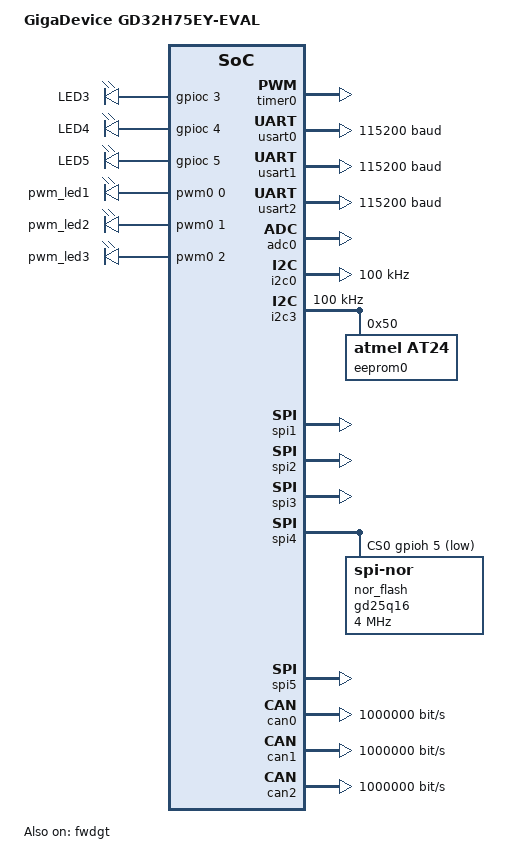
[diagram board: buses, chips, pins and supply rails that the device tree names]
/*
 * Copyright (c) 2026 GigaDevice Semiconductor Inc.
 *
 * SPDX-License-Identifier: Apache-2.0
 */

/dts-v1/;

#include <gd/gd32h75e/gd32h75eym.dtsi>
#include "gd32h75ey_eval-pinctrl.dtsi"
#include <zephyr/dt-bindings/dma/gd32_dma.h>

/ {
	model = "GigaDevice GD32H75EY-EVAL";
	compatible = "gd,gd32h75ey-eval";

	chosen {
		zephyr,sram = &sram0;
		zephyr,dtcm = &dtcm;
		zephyr,flash = &flash0;
		zephyr,console = &usart2;
		zephyr,shell-uart = &usart2;
		zephyr,flash-controller = &fmc;
		zephyr,canbus = &can0;
	};

	leds {
		compatible = "gpio-leds";
		led0: led0 {
			gpios = <&gpioc 3 GPIO_ACTIVE_HIGH>;
			label = "LED3";
		};
		led1: led1 {
			gpios = <&gpioc 4 GPIO_ACTIVE_HIGH>;
			label = "LED4";
		};
		led2: led2 {
			gpios = <&gpioc 5 GPIO_ACTIVE_HIGH>;
			label = "LED5";
		};
	};

	pwmleds {
		compatible = "pwm-leds";

		/* pwm_led0 (TIMER1_CH2/PB10) removed: PB10 is used by USART2_TX */
		pwm_led1: pwm_led1 {
			pwms = <&pwm0 0 PWM_MSEC(20) PWM_POLARITY_NORMAL>;
		};
		pwm_led2: pwm_led2 {
			pwms = <&pwm0 1 PWM_MSEC(20) PWM_POLARITY_NORMAL>;
		};
		pwm_led3: pwm_led3 {
			pwms = <&pwm0 2 PWM_MSEC(20) PWM_POLARITY_NORMAL>;
		};
	};

	aliases {
		led0 = &led0;
		led1 = &led1;
		led2 = &led2;
		watchdog0 = &fwdgt;
		pwm-led1 = &pwm_led1;
		pwm-led2 = &pwm_led2;
		pwm-led3 = &pwm_led3;
		eeprom-0 = &eeprom0;
	};
};

&timer0 {
	channels = <4>;
	prescaler = <9999>;
	alignedmode = <0x00>;
	counterdirection = <0x10>;
	deadtime = <200>;                  /* 1.06us */
	status = "okay";
	pwm0: pwm {
		status = "okay";
		pinctrl-0 = <&pwm0_default>;
		pinctrl-names = "default";
	};
};

/* timer1/pwm1 disabled: CH2 pin (PB10) is used by USART2_TX */
&timer1 {
	status = "disabled";
};

&backup_sram {
	status = "okay";
};

&gpioa {
	status = "okay";
};

&gpiob {
	status = "okay";
};

&gpioc {
	status = "okay";
};

&gpiod {
	status = "okay";
};

&gpioe {
	status = "okay";
};

&gpiof {
	status = "okay";
};

&gpiog {
	status = "okay";
};

&gpioh {
	status = "okay";
};

&gpioj {
	status = "okay";
};

&gpiok {
	status = "okay";
};

&usart0 {
	status = "okay";
	current-speed = <115200>;
	pinctrl-0 = <&usart0_default>;
	pinctrl-names = "default";
	dmas = <&dmamux 4 51 (GD32_DMA_PERIPH_RX | GD32_DMA_PRIORITY_HIGH)>,
	       <&dmamux 5 52 (GD32_DMA_PERIPH_TX | GD32_DMA_PRIORITY_HIGH)>;
	dma-names = "rx", "tx";
};

&usart1 {
	status = "okay";
	current-speed = <115200>;
	pinctrl-0 = <&usart1_default>;
	pinctrl-names = "default";
	dmas = <&dmamux 6 53 (GD32_DMA_PERIPH_RX | GD32_DMA_PRIORITY_HIGH)>,
	       <&dmamux 7 54 (GD32_DMA_PERIPH_TX | GD32_DMA_PRIORITY_HIGH)>;
	dma-names = "rx", "tx";
};

&usart2 {
	status = "okay";
	current-speed = <115200>;
	pinctrl-0 = <&usart2_default>;
	pinctrl-names = "default";
	dmas = <&dmamux 2 55 (GD32_DMA_PERIPH_RX | GD32_DMA_PRIORITY_HIGH)>,
	       <&dmamux 3 56 (GD32_DMA_PERIPH_TX | GD32_DMA_PRIORITY_HIGH)>;
	dma-names = "rx", "tx";
};

&fwdgt {
	status = "okay";
};

&adc0 {
	status = "okay";
	pinctrl-0 = <&adc0_default>;
	pinctrl-names = "default";
	dmas = <&dmamux 1 9 (GD32_DMA_PERIPH_RX | GD32_DMA_PRIORITY_VERY_HIGH)>;
	dma-names = "rx";
};

&dma0 {
	status = "okay";
};

&dma1 {
	status = "okay";
};

&dmamux {
	status = "okay";
};

&i2c0 {
	status = "okay";
	pinctrl-0 = <&i2c0_default>;
	pinctrl-names = "default";
	clock-frequency = <100000>;
};

&i2c1 {
	status = "disabled";
};

&i2c3 {
	status = "okay";
	pinctrl-0 = <&i2c3_default>;
	pinctrl-names = "default";
	clock-frequency = <100000>;
	dmas = <&dmamux 0 184 (GD32_DMA_PERIPH_RX | GD32_DMA_PRIORITY_HIGH)>,
	       <&dmamux 1 185 (GD32_DMA_PERIPH_TX | GD32_DMA_PRIORITY_HIGH)>;
	dma-names = "rx", "tx";
	eeprom0: eeprom@50 {
		compatible = "atmel,at24";
		reg = <0x50>;
		status = "okay";
		size = <256>;
		pagesize = <8>;
		address-width = <8>;
		timeout = <5>;
	};
};

&spi0 {
	status = "disabled";
	pinctrl-0 = <&spi0_default>;
	pinctrl-names = "default";
	cs-gpios = <&gpioa 4 GPIO_ACTIVE_LOW>;
};

&spi1 {
	status = "okay";
	pinctrl-0 = <&spi1_default>;
	pinctrl-names = "default";
	cs-gpios = <&gpiob 12 GPIO_ACTIVE_LOW>;
	dmas = <&dmamux 0 47 (GD32_DMA_PERIPH_RX | GD32_DMA_PRIORITY_HIGH)>,
	       <&dmamux 1 48 (GD32_DMA_PERIPH_TX | GD32_DMA_PRIORITY_HIGH)>;
	dma-names = "rx", "tx";
};

&spi2 {
	status = "okay";
	pinctrl-0 = <&spi2_default>;
	pinctrl-names = "default";
	cs-gpios = <&gpioa 4 GPIO_ACTIVE_LOW>;
	dmas = <&dmamux 8 75 (GD32_DMA_PERIPH_RX | GD32_DMA_PRIORITY_HIGH)>,
	       <&dmamux 9 76 (GD32_DMA_PERIPH_TX | GD32_DMA_PRIORITY_HIGH)>;
	dma-names = "rx", "tx";
};

&spi3 {
	status = "okay";
	pinctrl-0 = <&spi3_default>;
	pinctrl-names = "default";
	cs-gpios = <&gpioe 4 GPIO_ACTIVE_LOW>;
	dmas = <&dmamux 10 97 (GD32_DMA_PERIPH_RX | GD32_DMA_PRIORITY_HIGH)>,
	       <&dmamux 11 98 (GD32_DMA_PERIPH_TX | GD32_DMA_PRIORITY_HIGH)>;
	dma-names = "rx", "tx";
};

&spi4 {
	status = "okay";
	pinctrl-0 = <&spi4_default>;
	pinctrl-names = "default";
	cs-gpios = <&gpioh 5 GPIO_ACTIVE_LOW>;
	dmas = <&dmamux 12 99 (GD32_DMA_PERIPH_RX | GD32_DMA_PRIORITY_HIGH)>,
	       <&dmamux 13 100 (GD32_DMA_PERIPH_TX | GD32_DMA_PRIORITY_HIGH)>;
	dma-names = "rx", "tx";
	nor_flash: gd25q16@0 {
		compatible = "jedec,spi-nor";
		size = <0x1000000>;
		reg = <0>;
		spi-max-frequency = <4000000>;
		status = "okay";
		jedec-id = [c8 40 15];
	};
};

&spi5 {
	status = "okay";
	pinctrl-0 = <&spi5_default>;
	pinctrl-names = "default";
	cs-gpios = <&gpioa 0 GPIO_ACTIVE_LOW>;
	dmas = <&dmamux 14 182 (GD32_DMA_PERIPH_RX | GD32_DMA_PRIORITY_HIGH)>,
	       <&dmamux 15 183 (GD32_DMA_PERIPH_TX | GD32_DMA_PRIORITY_HIGH)>;
	dma-names = "rx", "tx";
};

&can0 {
	pinctrl-0 = <&can0_default>;
	pinctrl-names = "default";
	bus-speed = <1000000>;
	bus-speed-data = <1000000>;
	sample-point = <800>;
	sample-point-data = <800>;
	status = "okay";
};

&can1 {
	pinctrl-0 = <&can1_default>;
	pinctrl-names = "default";
	bus-speed = <1000000>;
	bus-speed-data = <1000000>;
	sample-point = <800>;
	sample-point-data = <800>;
	status = "okay";
};

&can2 {
	pinctrl-0 = <&can2_default>;
	pinctrl-names = "default";
	bus-speed = <1000000>;
	bus-speed-data = <1000000>;
	sample-point = <800>;
	sample-point-data = <800>;
	status = "okay";
};
